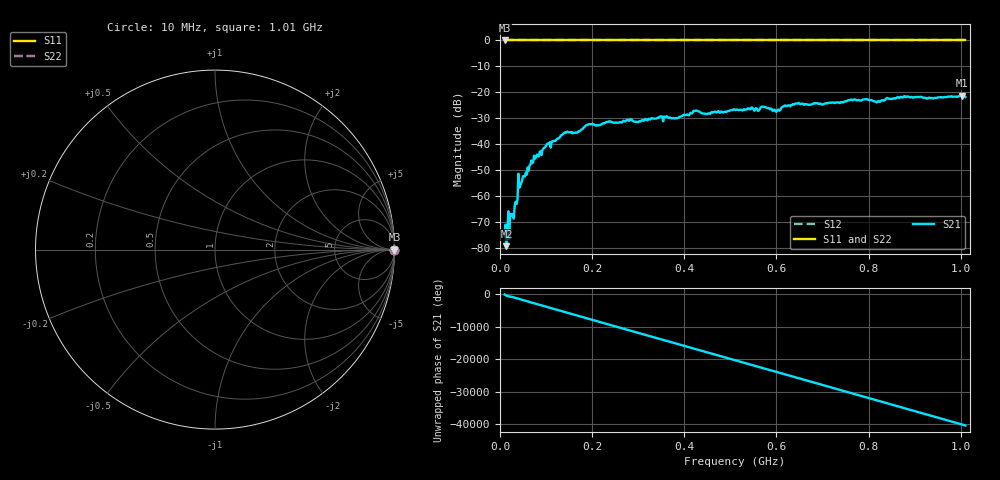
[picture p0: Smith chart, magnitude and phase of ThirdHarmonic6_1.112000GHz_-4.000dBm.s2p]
! 8/16/2025 10:35:19 AM
! C:\ANRITSUVNA\TEMP\TEMP.S2P
! CHANNEL.1
! TR.MEASUREMENT
! RAW.DATA
! RF.CORRECTION.OFF
! AVERAGING.OFF
! IF.BANDWIDTH: 5KHZ
! SWEEPTYPE:  FREQ.SWEEP(Linear)
! Reference Plane Port Info
! PORT:  PORT1  PORT2
! DISTANCE:  0  m  0  m
! TIME:  0  s  0  s
! PHASE.OFFSET:  0  deg.  0  deg.
! LOSS:  0  dB  0  dB
! REF.LOSS:  0  dB  0  dB
! REF.FREQ:  0  Hz  0  Hz
! Power Info
! POWER:  -20  dBm  -20  dBm
! EFF.POWER:  -20  dBm  -20  dBm
! SOURCE.ATTEN:  0  dB  0  dB
! TEST.ATTEN:  0  dB  0  dB
# GHZ S RI R 50.0
! FREQ.GHZ  S11RE  S11IM  S21RE  S21IM  S12RE  S12IM  S22RE  S22IM
!; PortSelection: Port_12
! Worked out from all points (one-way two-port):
!   501 points, 10 MHz to 1.01 GHz, reference 50 ohm
!   highest |S21| = -21.26 dB at 1.002 GHz (marker M1); lowest = -79.4 dB at 14 MHz (marker M2)
!   lowest |S11| = 0.0 dB at 10 MHz (marker M3)
!   |S11| at or under -10 dB: nowhere
!   |S22| runs from 0.0 to 0.0 dB; largest |S21 - S12| = 1.1
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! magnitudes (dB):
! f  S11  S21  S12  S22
! 10 MHz  0.0  -75.7  0.0  0.0
! 14 MHz  0.0  -79.4  0.0  0.0
! 18 MHz  0.0  -65.9  0.0  0.0
! 22 MHz  0.0  -67.0  0.0  0.0
! 24 MHz  0.0  -67.5  0.0  0.0
! 32 MHz  0.0  -63.5  0.0  0.0
! 36 MHz  0.0  -63.1  0.0  0.0
! 44 MHz  0.0  -56.0  0.0  0.0
! 70 MHz  0.0  -47.4  0.0  0.0
! 104 MHz  0.0  -39.8  0.0  0.0
! 136 MHz  0.0  -36.2  0.0  0.0
! 178 MHz  0.0  -34.3  0.0  0.0
! 196 MHz  0.0  -32.3  0.0  0.0
! 344 MHz  0.0  -29.8  0.0  0.0
! 510 MHz  0.0  -26.7  0.0  0.0
! 572 MHz  0.0  -25.6  0.0  0.0
! 602 MHz  0.0  -26.9  0.0  0.0
! 644 MHz  0.0  -24.4  0.0  0.0
! 678 MHz  0.0  -24.5  0.0  0.0
! 844 MHz  0.0  -22.5  0.0  0.0
! 1.002 GHz  0.0  -21.3  0.0  0.0
! 1.01 GHz  0.0  -21.8  0.0  0.0
